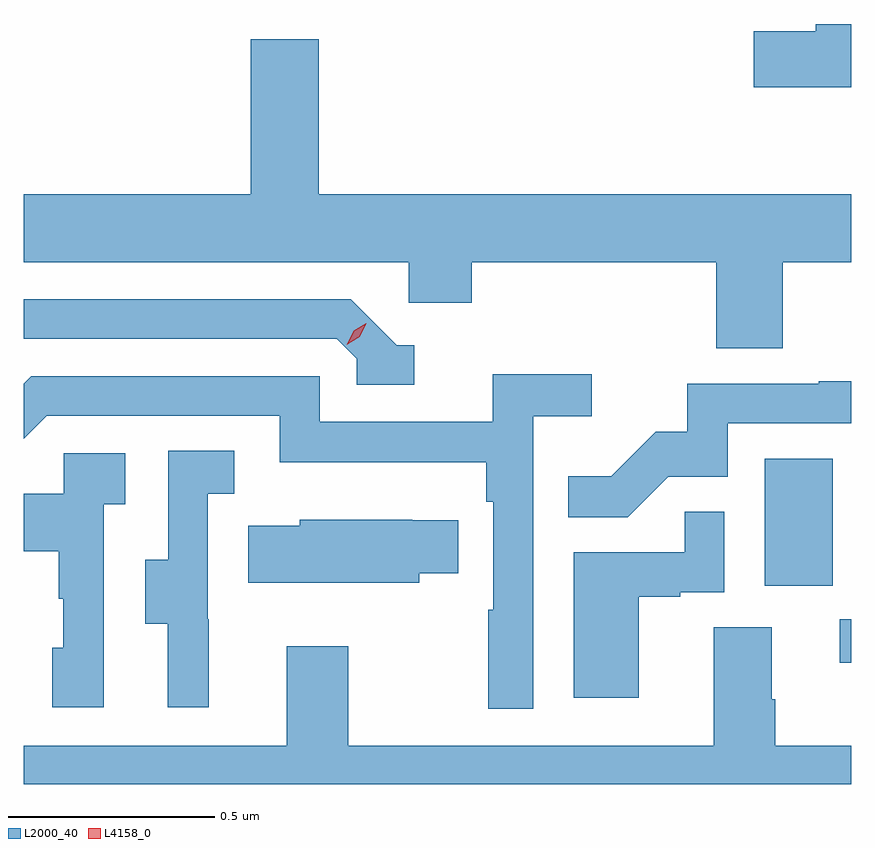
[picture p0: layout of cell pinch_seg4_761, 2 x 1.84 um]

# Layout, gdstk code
import gdstk
lib = gdstk.Library(unit=1e-6, precision=1e-09)
def R(c, l, rs):  # rectangles x0, y0, x1, y1
    for r in rs: c.add(gdstk.rectangle(r[:2], r[2:], *l))
def P(c, l, *ps):  # polygons
    for p in ps: c.add(gdstk.Polygon(p, *l))
L2000_40 = (2000, 40)
L4158_0 = (4158, 0)

pinch_seg4_761 = lib.new_cell('pinch_seg4_761')
R(pinch_seg4_761, L2000_40, [(861.735,814.5,861.763,814.605), (861.554,814.686,861.718,814.993)])
P(pinch_seg4_761, L2000_40, [(861.763,816.044),(861.677,816.044),(861.677,816.026),(861.528,816.026),(861.528,815.891),(861.763,815.891)],
  [(861.597,815.468),(861.763,815.468),(861.763,815.632),(860.476,815.632),(860.476,816.007),(860.312,816.007),(860.312,815.632),(859.763,815.632),(859.763,815.468),(860.694,815.468),(860.694,815.37),(860.846,815.37),(860.846,815.468),(861.437,815.468),(861.437,815.26),(861.597,815.26)],
  [(860.707,815.268),(860.664,815.268),(860.553,815.379),(859.763,815.379),(859.763,815.283),(860.52,815.283),(860.568,815.235),(860.568,815.172),(860.707,815.172)],
  [(860.994,815.096),(861.136,815.096),(861.136,815.198),(860.897,815.198),(860.897,815.082),(860.478,815.082),(860.478,815.193),(859.781,815.193),(859.763,815.175),(859.763,815.042),(859.818,815.097),(860.382,815.097),(860.382,814.985),(860.881,814.985),(860.881,814.889),(860.898,814.889),(860.898,814.628),(860.886,814.628),(860.886,814.389),(860.994,814.389)],
  [(861.321,814.95),(861.465,814.95),(861.465,815.079),(861.763,815.079),(861.763,815.18),(861.685,815.18),(861.685,815.175),(861.367,815.175),(861.367,815.058),(861.29,815.058),(861.183,814.951),(861.079,814.951),(861.079,814.852),(861.223,814.852)],
  [(860.21,814.605),(860.208,814.605),(860.208,814.909),(860.272,814.909),(860.272,815.012),(860.112,815.012),(860.112,814.749),(860.057,814.749),(860.057,814.594),(860.111,814.594),(860.111,814.392),(860.21,814.392)],
  [(859.956,814.883),(860.008,814.883),(860.008,815.007),(859.86,815.007),(859.86,814.909),(859.763,814.909),(859.763,814.769),(859.848,814.769),(859.848,814.655),(859.858,814.655),(859.858,814.536),(859.832,814.536),(859.832,814.392),(859.956,814.392)],
  [(861.25,814.659),(861.35,814.659),(861.35,814.671),(861.456,814.671),(861.456,814.865),(861.361,814.865),(861.361,814.767),(861.092,814.767),(861.092,814.416),(861.25,814.416)],
  [(860.719,814.717),(860.813,814.717),(860.813,814.845),(860.702,814.845),(860.702,814.846),(860.43,814.846),(860.43,814.831),(860.305,814.831),(860.305,814.694),(860.719,814.694)],
  [(860.399,814.54),(860.399,814.3),(859.763,814.3),(859.763,814.207),(861.763,814.207),(861.763,814.3),(861.579,814.3),(861.579,814.412),(861.571,814.412),(861.571,814.586),(861.431,814.586),(861.431,814.3),(860.547,814.3),(860.547,814.54)])
P(pinch_seg4_761, L4158_0, [(860.544,815.269),(860.544,815.269),(860.56,815.302),(860.591,815.321),(860.591,815.321),(860.591,815.321),(860.575,815.288),(860.544,815.269)])

lib.write_gds('pinch_seg4_761.gds')
